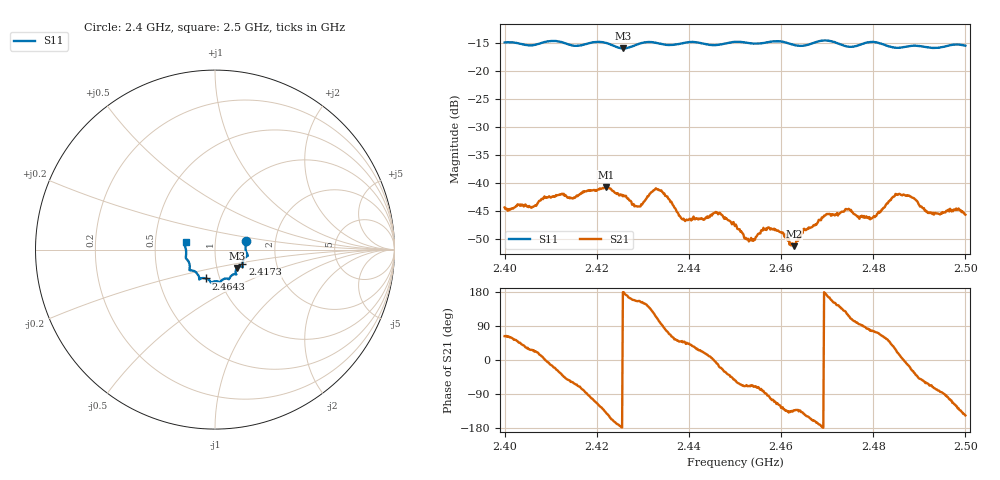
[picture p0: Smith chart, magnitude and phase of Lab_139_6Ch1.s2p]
# Hz S RI R 50
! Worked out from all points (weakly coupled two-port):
!   601 points, 2.4 GHz to 2.5 GHz, reference 50 ohm
!   highest |S21| = -40.75 dB at 2.422 GHz (marker M1); lowest = -51.4 dB at 2.4628 GHz (marker M2)
!   lowest |S11| = -15.9 dB at 2.4257 GHz (marker M3), VSWR 1.38, Z = 62.4 - j13.1 ohm
!   |S11| at or under -10 dB: start of sweep to end of sweep
!   S12 and S22 are empty: the file has one direction only
!   S11 on the Smith chart (normalised r, x): 2.4 GHz: 1.41, +0.14; 2.4173 GHz: 1.34, -0.23; 2.4643 GHz: 0.86, -0.29; 2.5 GHz: 0.72, +0.06
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2.4e9  0.1737 0.0492  0.00274 0.00534  0 0  0 0
2.416667e9  0.1534 -0.0743  0.00203 -0.00786  0 0  0 0
2.417333e9  0.1527 -0.0819  0.00112 -0.00834  0 0  0 0
2.422e9  0.1516 -0.095  -0.00691 -0.00603  0 0  0 0
2.425667e9  0.1226 -0.1023  -0.00757 0.00014  0 0  0 0
2.429e9  0.1155 -0.1312  -0.00559 0.00253  0 0  0 0
2.433333e9  0.1132 -0.1365  -0.00245 0.0084  0 0  0 0
2.438833e9  0.0812 -0.1589  0.00322 0.00352  0 0  0 0
2.446167e9  0.0462 -0.1654  0.00532 -0.000908  0 0  0 0
2.45e9  0.0293 -0.1809  0.00242 -0.0033  0 0  0 0
2.452667e9  0.0196 -0.1781  0.00112 -0.00293  0 0  0 0
2.4575e9  -0.0161 -0.182  -0.000552 -0.00387  0 0  0 0
2.462833e9  -0.035 -0.1678  -0.00183 -0.002  0 0  0 0
2.464333e9  -0.0499 -0.1608  -0.00254 -0.00234  0 0  0 0
2.466667e9  -0.0761 -0.1596  -0.00373 -0.00148  0 0  0 0
2.469833e9  -0.088 -0.1662  -0.00519 0.000686  0 0  0 0
2.474333e9  -0.1001 -0.1325  -0.00294 0.00496  0 0  0 0
2.479833e9  -0.1427 -0.1139  0.00106 0.00474  0 0  0 0
2.483333e9  -0.1407 -0.09  0.00437 0.00521  0 0  0 0
2.486167e9  -0.1505 -0.0621  0.00772 0.000803  0 0  0 0
2.492333e9  -0.1609 -0.0218  0.00203 -0.00494  0 0  0 0
2.5e9  -0.1635 0.042  -0.00431 -0.00287  0 0  0 0
